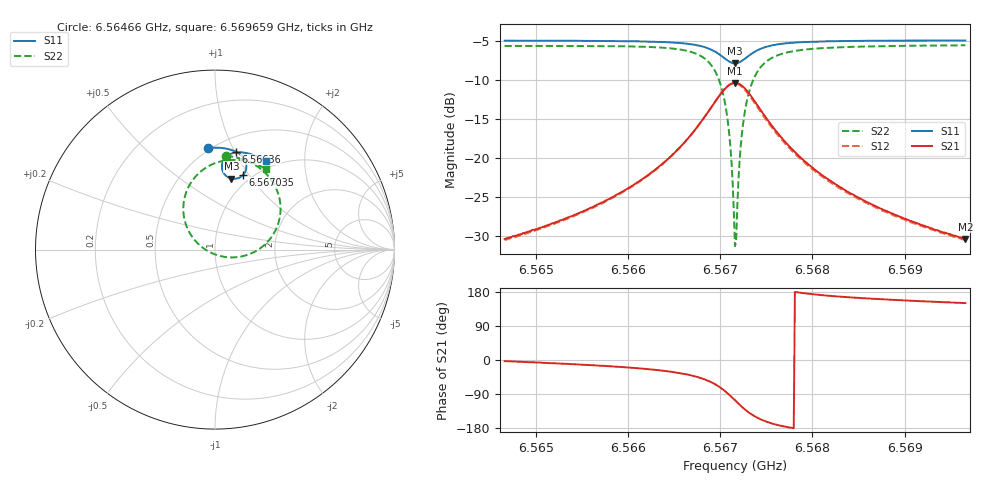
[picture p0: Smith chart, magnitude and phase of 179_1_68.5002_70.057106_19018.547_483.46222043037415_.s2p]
#  HZ  S  RI  R  50.00
! Rohde & Schwarz Vector Network Analyzer
! Rohde-Schwarz,ZNB20-2Port,1311601062101988,3.16
! Created: UTC 3/20/2024, 5:11:45 PM
! freq[Hz]  re:S11  im:S11  re:S21  im:S21  re:S12  im:S12  re:S22  im:S22
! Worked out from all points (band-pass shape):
!   401 points, 6.56466 GHz to 6.569659 GHz, reference 50 ohm
!   highest |S21| = -10.31 dB at 6.56716 GHz (marker M1); lowest = -30.3 dB at 6.569659 GHz (marker M2)
!   |S21| within 3 dB of the highest: 6.566911 GHz to 6.56741 GHz (499.5 kHz wide, 0.00761 % of centre)
!   lowest |S11| = -7.8 dB at 6.56716 GHz (marker M3), VSWR 2.37, Z = 42.5 + j40.3 ohm
!   |S11| at or under -10 dB: nowhere
!   |S22| runs from -31.3 to -5.5 dB; largest |S21 - S12| = 0.015
!   S11 on the Smith chart (normalised r, x): 6.56466 GHz: 0.48, +0.81; 6.56636 GHz: 0.64, +1.01; 6.567035 GHz: 0.91, +0.94; 6.569659 GHz: 0.89, +1.31
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6.5646602e9  -0.0394 0.5677  0.0304 -0.00163  0.0299 -0.00208  0.0619 0.5225
6.5654975e9  0.0304 0.5668  0.0444 -0.00967  0.0437 -0.0103  0.1447 0.5058
6.5663348e9  0.1119 0.5478  0.079 -0.0403  0.0777 -0.0412  0.2648 0.4415
6.5663598e9  0.1148 0.5465  0.0807 -0.0424  0.0794 -0.0433  0.2697 0.4372
6.5666347e9  0.1486 0.5237  0.1036 -0.0807  0.1019 -0.0823  0.3304 0.3619
6.5668347e9  0.1718 0.4867  0.1156 -0.1458  0.1127 -0.1487  0.365 0.2369
6.5669472e9  0.1738 0.4501  0.1003 -0.2096  0.0946 -0.2137  0.3407 0.1151
6.5670346e9  0.1562 0.416  0.0527 -0.2676  0.0427 -0.2706  0.2527 0.00746
6.5670971e9  0.128 0.3979  -0.00928 -0.2957  -0.0224 -0.2951  0.1375 -0.0403
6.5671221e9  0.1139 0.3947  -0.0394 -0.299  -0.053 -0.2963  0.0832 -0.0437
6.5671471e9  0.0989 0.3948  -0.0705 -0.2967  -0.0839 -0.2912  0.0279 -0.0355
6.5671596e9  0.0915 0.3959  -0.0855 -0.293  -0.0989 -0.2864  0.000993 -0.0274
6.5671721e9  0.0841 0.398  -0.1005 -0.2878  -0.1133 -0.2801  -0.0248 -0.0162
6.5671846e9  0.0772 0.4009  -0.1147 -0.2813  -0.127 -0.2724  -0.049 -0.00285
6.5672221e9  0.0591 0.4137  -0.1518 -0.2544  -0.1613 -0.2431  -0.1103 0.0494
6.5672596e9  0.0465 0.4302  -0.1781 -0.2209  -0.1843 -0.2084  -0.1511 0.1121
6.5673096e9  0.0389 0.4542  -0.1963 -0.174  -0.1985 -0.1617  -0.1749 0.1968
6.5673721e9  0.0406 0.4809  -0.1984 -0.1224  -0.1974 -0.1117  -0.17 0.2867
6.567597e9  0.0801 0.5299  -0.1495 -0.0262  -0.1461 -0.0219  -0.0628 0.4479
6.5679969e9  0.141 0.5422  -0.0869 0.00944  -0.0848 0.0109  0.0747 0.4987
6.5688342e9  0.2225 0.5237  -0.0423 0.016  -0.0412 0.0163  0.2066 0.4832
6.569659e9  0.2851 0.4945  -0.0264 0.0151  -0.0258 0.0153  0.2829 0.4499
